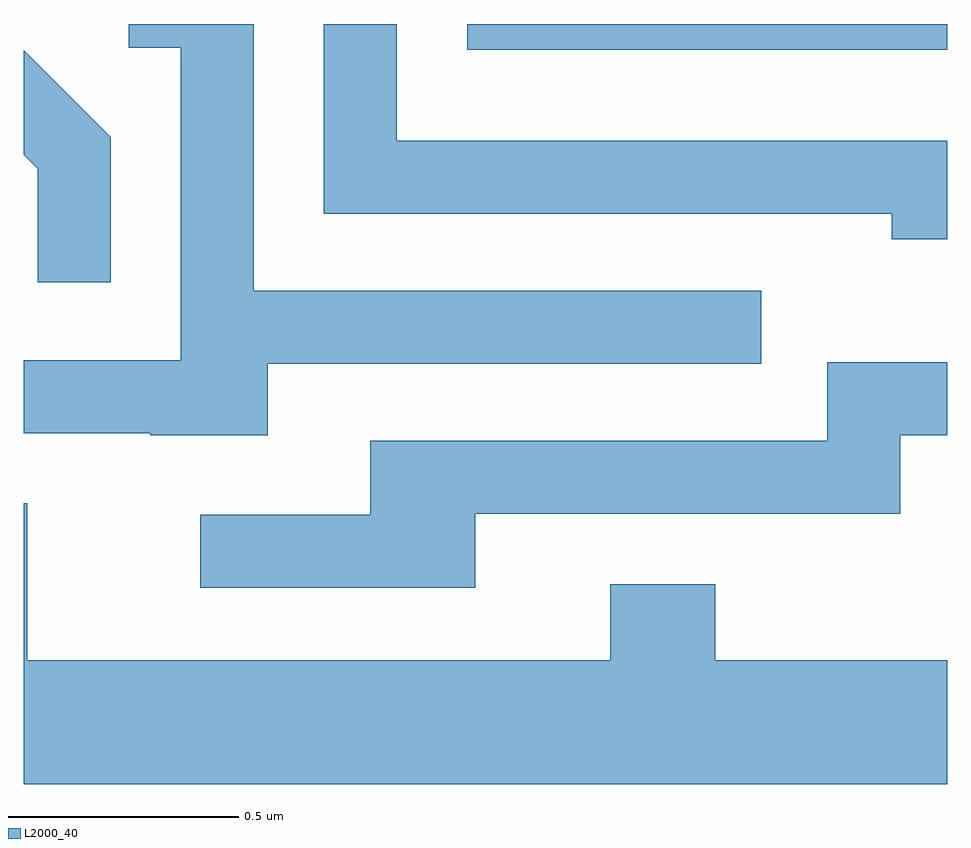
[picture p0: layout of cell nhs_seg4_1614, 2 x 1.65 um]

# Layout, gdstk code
import gdstk
lib = gdstk.Library(unit=1e-6, precision=1e-09)
def R(c, l, rs):  # rectangles x0, y0, x1, y1
    for r in rs: c.add(gdstk.rectangle(r[:2], r[2:], *l))
def P(c, l, *ps):  # polygons
    for p in ps: c.add(gdstk.Polygon(p, *l))
L2000_40 = (2000, 40)

nhs_seg4_1614 = lib.new_cell('nhs_seg4_1614')
R(nhs_seg4_1614, L2000_40, [(197.571,1362.926,198.611,1362.982)])
P(nhs_seg4_1614, L2000_40, [(198.611,1362.729),(197.419,1362.729),(197.419,1362.982),(197.261,1362.982),(197.261,1362.571),(198.491,1362.571),(198.491,1362.516),(198.611,1362.516)],
  [(197.139,1362.246),(198.208,1362.246),(198.208,1362.404),(197.109,1362.404),(197.109,1362.982),(196.838,1362.982),(196.838,1362.931),(196.951,1362.931),(196.951,1362.254),(196.611,1362.254),(196.611,1362.096),(196.885,1362.096),(196.885,1362.091),(197.139,1362.091)],
  [(196.799,1362.737),(196.611,1362.925),(196.611,1362.699),(196.641,1362.669),(196.641,1362.423),(196.799,1362.423)],
  [(197.589,1361.921),(198.509,1361.921),(198.509,1362.091),(198.611,1362.091),(198.611,1362.249),(198.351,1362.249),(198.351,1362.079),(197.361,1362.079),(197.361,1361.919),(196.993,1361.919),(196.993,1361.761),(197.589,1361.761)],
  [(198.611,1361.604),(198.109,1361.604),(198.109,1361.769),(197.881,1361.769),(197.881,1361.604),(196.619,1361.604),(196.619,1361.944),(196.611,1361.944),(196.611,1361.336),(198.611,1361.336)])

lib.write_gds('nhs_seg4_1614.gds')
